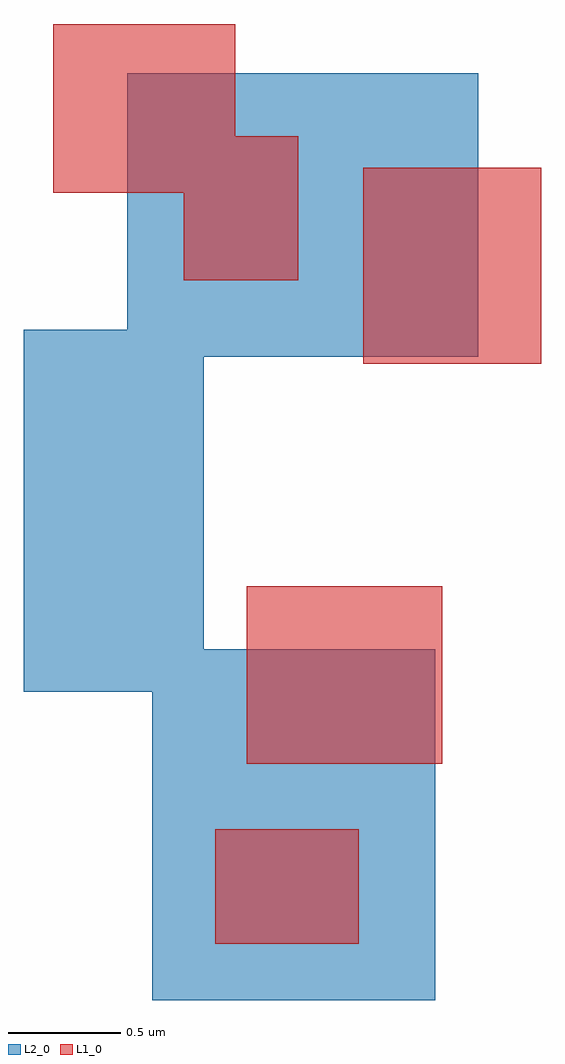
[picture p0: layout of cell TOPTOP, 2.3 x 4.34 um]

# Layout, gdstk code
from math import pi, radians
import gdstk
lib = gdstk.Library(unit=1e-6, precision=1e-09)
def R(c, l, rs):  # rectangles x0, y0, x1, y1
    for r in rs: c.add(gdstk.rectangle(r[:2], r[2:], *l))
L1_0 = (1, 0)
L2_0 = (2, 0)

c_a = lib.new_cell('A')
R(c_a, L1_0, [(0,0,0.64,0.51)])

top = lib.new_cell('TOP')
R(top, L1_0, [(0.19,0.2,1.06,0.99)])
R(top, L2_0, [(0.22,0.48,1.48,2.04)])
top.add(gdstk.Reference(c_a, (0.56,1.28)))

toptop = lib.new_cell('TOPTOP')
R(toptop, L1_0, [(-0.07,1.21,0.74,1.96)])
R(toptop, L2_0, [(-0.2,-1.01,0.6,0.6)])
toptop.add(gdstk.Reference(top, (2.3,0.26), rotation=pi/2))
toptop.add(gdstk.Reference(top, (1.85,-0.34), rotation=pi))

lib.write_gds('TOPTOP.gds')
